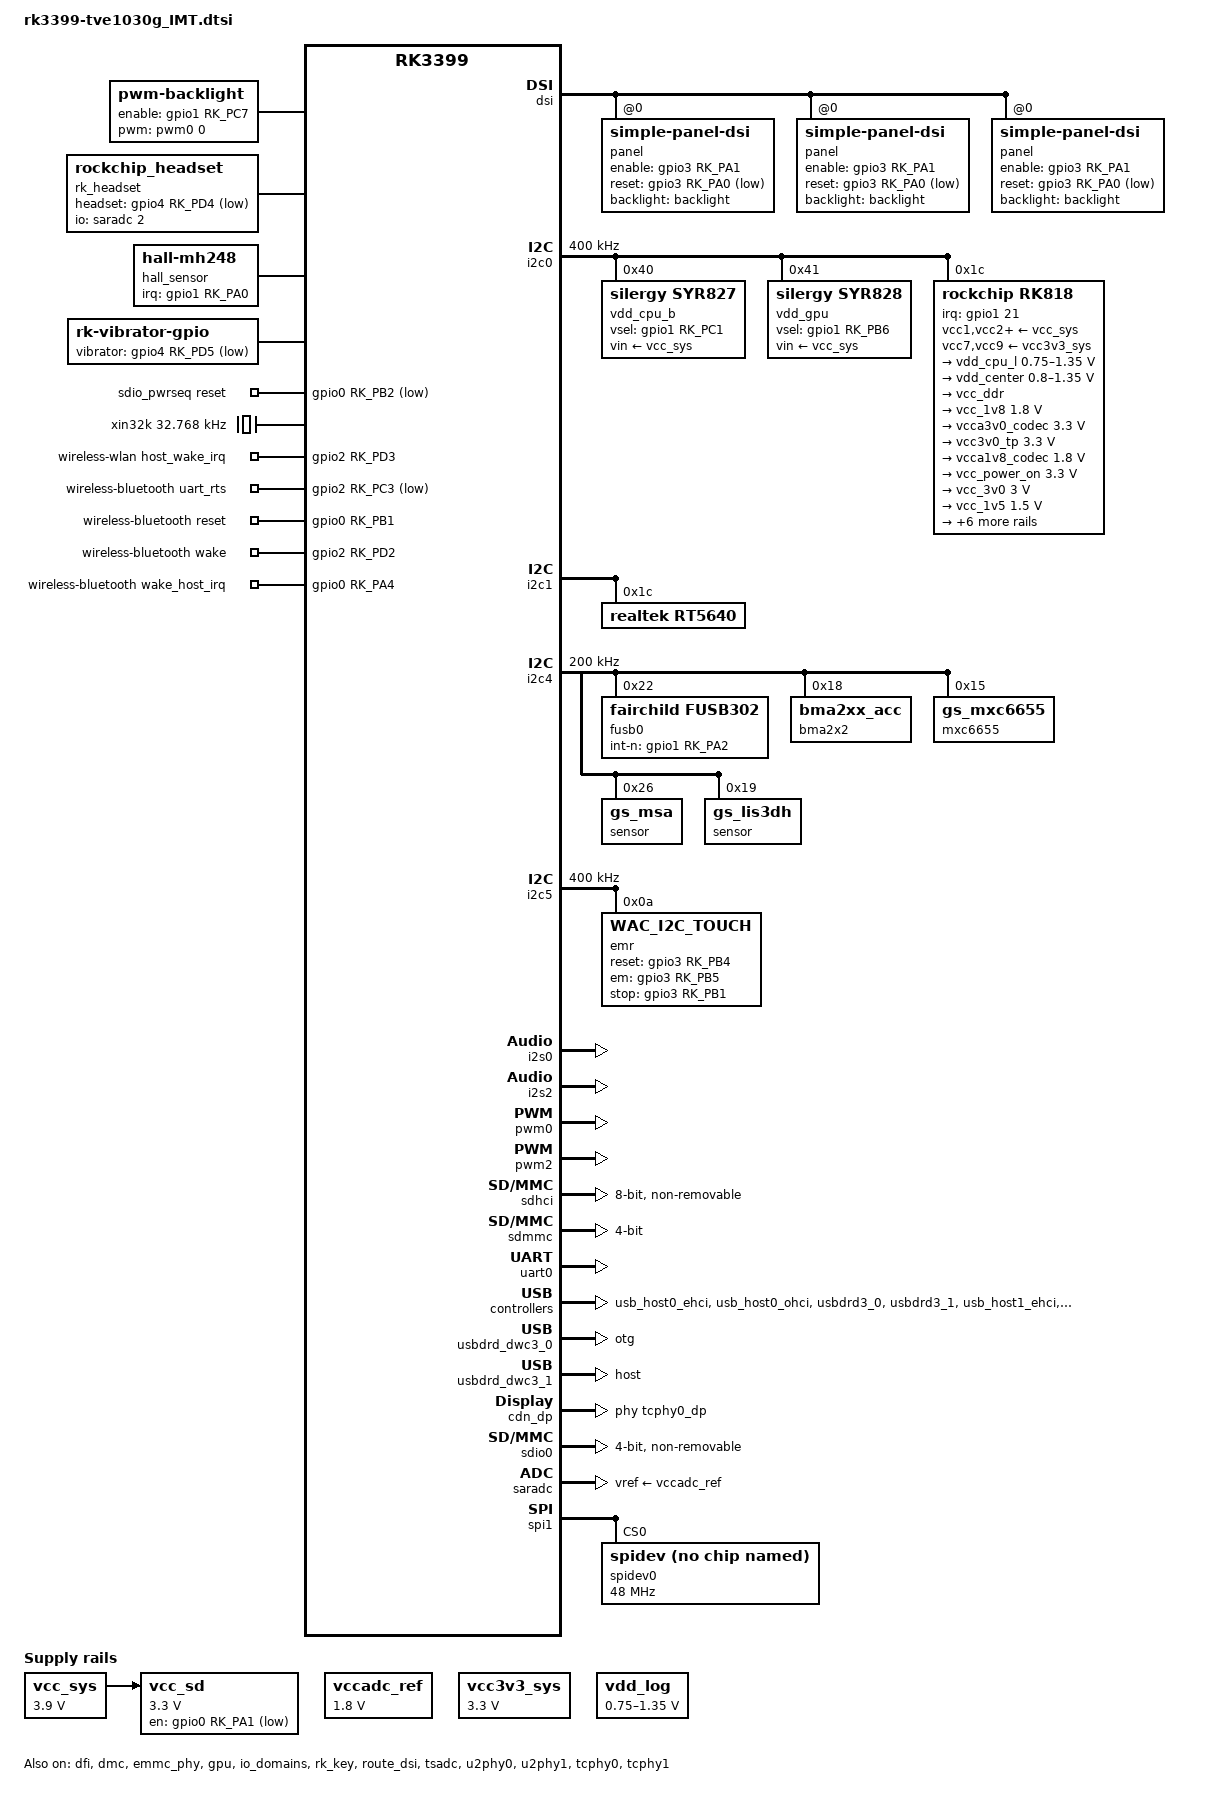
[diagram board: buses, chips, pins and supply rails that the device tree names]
/*
 * Copyright (c) 2018 Fuzhou Rockchip Electronics Co., Ltd
 *
 * SPDX-License-Identifier: (GPL-2.0+ OR MIT)
 */

/dts-v1/;
#include <dt-bindings/pwm/pwm.h>
#include <dt-bindings/sensor-dev.h>
#include "rk3399.dtsi"
#include "rk3399-android.dtsi"
#include "rk3399-opp.dtsi"
#include "rk3399-vop-clk-set.dtsi"

/ {
	backlight: backlight {
		compatible = "pwm-backlight";
		pwms = <&pwm0 0 25000 0>;
		pinctrl-names = "default";
   		 pinctrl-0 = <&bl_en>;
		enable-gpios = <&gpio1 RK_PC7 GPIO_ACTIVE_HIGH>;
		brightness-levels = <
			  0  20  20  21  21  22  22  23
			 23  24  24  25  25  26  26  27
			 27  28  28  29  29  30  30  31
			 31  32  32  33  33  34  34  35
			 35  36  36  37  37  38  38  39
			 40  41  42  43  44  45  46  47
			 48  49  50  51  52  53  54  55
			 56  57  58  59  60  61  62  63
			 64  65  66  67  68  69  70  71
			 72  73  74  75  76  77  78  79
			 80  81  82  83  84  85  86  87
			 88  89  90  91  92  93  94  95
			 96  97  98  99 100 101 102 103
			104 105 106 107 108 109 110 111
			112 113 114 115 116 117 118 119
			120 121 122 123 124 125 126 127
			128 129 130 131 132 133 134 135
			136 137 138 139 140 141 142 143
			144 145 146 147 148 149 150 151
			152 153 154 155 156 157 158 159
			160 161 162 163 164 165 166 167
			168 169 170 171 172 173 174 175
			176 177 178 179 180 181 182 183
			184 185 186 187 188 189 190 191
			192 193 194 195 196 197 198 199
			200 201 202 203 204 205 206 207
			208 209 210 211 212 213 214 215
			216 217 218 219 220 221 222 223
			224 225 226 227 228 229 230 231
			232 233 234 235 236 237 238 239
			240 241 242 243 244 245 246 247
			248 249 250 251 252 253 254 255
		>;
		default-brightness-level = <200>;
	};


	rt5640_sound: rt5640-sound {
		compatible = "simple-audio-card";
		status = "okay";
		simple-audio-card,format = "i2s";
		simple-audio-card,name = "rockchip,rt5640-codec";
		simple-audio-card,mclk-fs = <256>;
		simple-audio-card,widgets =
			"Microphone", "Mic Jack",
			"Headphone", "Headphone Jack";
		simple-audio-card,routing =
			"Mic Jack", "MICBIAS1",
			"IN1P", "Mic Jack",
			"Headphone Jack", "HPOL",
			"Headphone Jack", "HPOR";
		simple-audio-card,cpu {
			sound-dai = <&i2s0>;
		};
		simple-audio-card,codec {
			sound-dai = <&rt5640>;
		};
	};


	rk_headset {
		compatible = "rockchip_headset";
		headset_gpio = <&gpio4 RK_PD4 GPIO_ACTIVE_LOW>;
		pinctrl-names = "default";
		pinctrl-0 = <&hp_det>;
		io-channels = <&saradc 2>;
	};



	vcc_sd: sdmmc-regulator {
		compatible = "regulator-fixed";
		gpio = <&gpio0 RK_PA1 GPIO_ACTIVE_LOW>;
		pinctrl-names = "default";
		pinctrl-0 = <&sdmmc_pwr>;
		regulator-name = "vcc_sd";
		regulator-min-microvolt = <3300000>;
		regulator-max-microvolt = <3300000>;
		startup-delay-us = <100000>;
		vin-supply = <&vcc_sys>;
	};

	hall_sensor: hall-mh248 {
		compatible = "hall-mh248";
		pinctrl-names = "default";
		pinctrl-0 = <&mh248_irq_gpio>;
		irq-gpio = <&gpio1 RK_PA0 IRQ_TYPE_EDGE_BOTH>;
		hall-active = <1>;
		status = "okay";
	};

	vibrator {
		compatible = "rk-vibrator-gpio";
		vibrator-gpio = <&gpio4 RK_PD5 GPIO_ACTIVE_LOW>;
		status = "okay";
	};

	sdio_pwrseq: sdio-pwrseq {
		compatible = "mmc-pwrseq-simple";
		clocks = <&rk818 1>;
		clock-names = "ext_clock";
		pinctrl-names = "default";
		pinctrl-0 = <&wifi_enable_h>;
		/*
		 * On the module itself this is one of these (depending
		 * on the actual card populated):
		 * - SDIO_RESET_L_WL_REG_ON
		 * - PDN (power down when low)
		 */
		reset-gpios = <&gpio0 RK_PB2 GPIO_ACTIVE_LOW>;
	};

	uboot-charge {
		compatible = "rockchip,uboot-charge";
		rockchip,uboot-charge-on = <0>;
		rockchip,android-charge-on = <1>;
		rockchip,uboot-exit-charge-voltage = <3600>;
		rockchip,screen-on-voltage = <3400>;
		rockchip,uboot-low-power-voltage = <3500>;
		rockchip,auto-wakeup-interval = <300>;
	};

	vcc_sys: vcc-sys {
		compatible = "regulator-fixed";
		regulator-name = "vcc_sys";
		regulator-always-on;
		regulator-boot-on;
		regulator-min-microvolt = <3900000>;
		regulator-max-microvolt = <3900000>;
	};
	vccadc_ref: vccadc-ref {
		compatible = "regulator-fixed";
		regulator-name = "vcc1v8_sys";
		regulator-always-on;
		regulator-boot-on;
		regulator-min-microvolt = <1800000>;
		regulator-max-microvolt = <1800000>;
	};


	vcc3v3_sys: vcc3v3-sys {
		compatible = "regulator-fixed";
		regulator-name = "vcc3v3_sys";
		regulator-always-on;
		regulator-boot-on;
		regulator-min-microvolt = <3300000>;
		regulator-max-microvolt = <3300000>;
	};

	vdd_log: vdd-log {
		compatible = "pwm-regulator";
		pwms = <&pwm2 0 25000 1>;
		rockchip,pwm_id= <2>;
		rockchip,pwm_voltage = <900000>;
		regulator-name = "vdd_log";
		regulator-min-microvolt = <750000>;
		regulator-max-microvolt = <1350000>;
		regulator-always-on;
		regulator-boot-on;
	};

	xin32k: xin32k {
		compatible = "fixed-clock";
		clock-frequency = <32768>;
		clock-output-names = "xin32k";
		#clock-cells = <0>;
	};

	wireless-wlan {
		compatible = "wlan-platdata";
		rockchip,grf = <&grf>;
		wifi_chip_type = "ap6256";
		sdio_vref = <1800>;
		//WIFI,host_wake_irq = <&gpio4 RK_PD0 GPIO_ACTIVE_HIGH>;//QC2 and before
		WIFI,host_wake_irq = <&gpio2 RK_PD3 GPIO_ACTIVE_HIGH>;//for QCK
		pinctrl-names = "default";
		pinctrl-0 = <&host_wake_gpio>;
		status = "okay";
	};

	wireless-bluetooth {
		compatible = "bluetooth-platdata";
		clocks = <&rk818 1>;
		clock-names = "ext_clock";
		uart_rts_gpios = <&gpio2 RK_PC3 GPIO_ACTIVE_LOW>;
		pinctrl-names = "default", "rts_gpio";
		pinctrl-0 = <&uart0_rts>;
		pinctrl-1 = <&uart0_gpios>;
		BT,reset_gpio    = <&gpio0 RK_PB1 GPIO_ACTIVE_HIGH>; /* GPIO0_B1 */
		BT,wake_gpio     = <&gpio2 RK_PD2 GPIO_ACTIVE_HIGH>; /* GPIO2_D2 */
		BT,wake_host_irq = <&gpio0 RK_PA4 GPIO_ACTIVE_HIGH>; /* GPIO0_A4 */
		status = "okay";
	};
    /*   leds {
       compatible = "gpio-leds";
           charging {
           label = "charging";
           linux,default-trigger = "battery-charging";
           default-state = "on";
           gpios = <&gpio4 RK_PC6 GPIO_ACTIVE_HIGH>;
           pinctrl-names = "default";
           pinctrl-0 = <&led_power>;
       };

       user_led: user {
           label = "firefly:yellow:user";
           linux,default-trigger = "ir-user-click";
           default-state = "off";
           gpios = <&gpio0 RK_PB5 GPIO_ACTIVE_HIGH>;
           pinctrl-names = "default";
           pinctrl-0 = <&led_user>;
       };
   };*/
};


&cpu_l0 {
	cpu-supply = <&vdd_cpu_l>;
};

&cpu_l1 {
	cpu-supply = <&vdd_cpu_l>;
};

&cpu_l2 {
	cpu-supply = <&vdd_cpu_l>;
};

&cpu_l3 {
	cpu-supply = <&vdd_cpu_l>;
};

&cpu_b0 {
	cpu-supply = <&vdd_cpu_b>;
};

&cpu_b1 {
	cpu-supply = <&vdd_cpu_b>;
};

&dfi {
	status = "okay";
};

&dmc {
	status = "okay";
	center-supply = <&vdd_center>;
	system-status-freq = <
		/*system status         freq(KHz)*/
		SYS_STATUS_NORMAL       856000
		SYS_STATUS_REBOOT       416000
		SYS_STATUS_SUSPEND      416000
		SYS_STATUS_VIDEO_1080P  856000
		SYS_STATUS_VIDEO_4K     856000
		SYS_STATUS_VIDEO_4K_10B 856000
		SYS_STATUS_PERFORMANCE  856000
		SYS_STATUS_BOOST        856000
		SYS_STATUS_DUALVIEW     856000
		SYS_STATUS_ISP          856000
	>;
    vop-bw-dmc-freq = <
    /* min_bw(MB/s) max_bw(MB/s) freq(KHz) */
            0       577      416000
            578     99999    856000
    >;
	auto-min-freq = <416000>;
	auto-freq-en = <0>;
};

&dmc_opp_table {
	compatible = "operating-points-v2";

	opp-200000000 {
		opp-hz = /bits/ 64 <200000000>;
		opp-microvolt = <825000>;
		status = "disabled";
	};
	opp-300000000 {
		opp-hz = /bits/ 64 <300000000>;
		opp-microvolt = <850000>;
		status = "disabled";
	};
	opp-400000000 {
		opp-hz = /bits/ 64 <400000000>;
		opp-microvolt = <900000>;
        status = "disabled";
	};
    opp-416000000 {
		opp-hz = /bits/ 64 <416000000>;
		opp-microvolt = <900000>;
	};
	opp-528000000 {
		opp-hz = /bits/ 64 <528000000>;
		opp-microvolt = <900000>;
		status = "disabled";
	};
	opp-600000000 {
		opp-hz = /bits/ 64 <600000000>;
		opp-microvolt = <900000>;
		status = "disabled";
	};
	opp-800000000 {
		opp-hz = /bits/ 64 <800000000>;
		opp-microvolt = <900000>;
        status = "disabled";
	};
    opp-856000000 {
		opp-hz = /bits/ 64 <856000000>;
		opp-microvolt = <900000>;
	};
	opp-928000000 {
		opp-hz = /bits/ 64 <928000000>;
		opp-microvolt = <900000>;
		status = "disabled";
	};
	opp-1056000000 {
		opp-hz = /bits/ 64 <1056000000>;
		opp-microvolt = <900000>;
		status = "disabled";
	};
};

&dp_in_vopb {
	status = "disabled";
};

&dsi {
        status = "okay";
	rockchip,lane-rate = <1000>;


panel@0 {
	compatible ="simple-panel-dsi";
	reg = <0>;
	num = <0>;
	id = [82 79 0d];
	id-reg = <0xFC>;
	gpio_id = <0>;

	backlight = <&backlight>;
	enable-gpios = <&gpio3 RK_PA1 GPIO_ACTIVE_HIGH>;
	reset-gpios = <&gpio3 RK_PA0 GPIO_ACTIVE_LOW>;
	pinctrl-0 = <&lcd_pwr_gpio>;
	pinctrl-1 = <&lcd_rst_gpio>;

	dsi,flags = <(MIPI_DSI_MODE_VIDEO | MIPI_DSI_MODE_VIDEO_BURST |  MIPI_DSI_MODE_LPM)>;
	dsi,format = <MIPI_DSI_FMT_RGB888>;
//	bus-format = <MEDIA_BUS_FMT_RGB666_1X18>;
	dsi,lanes = <4>;
	dsi,channel = <0>;
	unprepare-delay-ms = <0>;
	disable-delay-ms = <10>;
	reset-delay-ms = <20>;
	init-delay-ms = <60>;
	enable-delay-ms = <50>;
	prepare-delay-ms = <50>;
	width-mm = <135>;
	height-mm = <218>;
	size,width = <135>;
	size,height = <216>;
	status = "okay";

panel-init-sequence = [                 
	15 05 02 B0 01
	15 05 02 C0 26  //VGPH
	15 05 02 C1 10 //VGNH
	15 05 02 C2 0E
	15 05 02 C3 00
	15 05 02 C4 00
	15 05 02 C5 23
	15 05 02 C6 11
	15 05 02 C7 22
	15 05 02 C8 20
	15 05 02 C9 1E
	15 05 02 CA 1C
	15 05 02 CB 0C
	15 05 02 CC 0A
	15 05 02 CD 08
	15 05 02 CE 06
	15 05 02 CF 18
	15 05 02 D0 02
	15 05 02 D1 00
	15 05 02 D2 00
	15 05 02 D3 00
	15 05 02 D4 26//
	15 05 02 D5 0F
	15 05 02 D6 0D
	15 05 02 D7 00
	15 05 02 D8 00
	15 05 02 D9 23
	15 05 02 DA 11
	15 05 02 DB 21
	15 05 02 DC 1F
	15 05 02 DD 1D
	15 05 02 DE 1B
	15 05 02 DF 0B
	15 05 02 E0 09
	15 05 02 E1 07
	15 05 02 E2 05
	15 05 02 E3 17
	15 05 02 E4 01
	15 05 02 E5 00
	15 05 02 E6 00
	15 05 02 E7 00//
	15 05 02 B0 03
	15 05 02 BE 04
	15 05 02 B9 40
	15 05 02 CC 88
	15 05 02 C8 0C
	15 05 02 C9 07
	15 05 02 CD 01
	15 05 02 CA 40
	15 05 02 CE 1A
	15 05 02 CF 60
	15 05 02 D2 08
	15 05 02 D3 08
	15 05 02 DB 01
	15 05 02 D9 06
	15 05 02 D4 00
	15 05 02 D5 01
	15 05 02 D6 04
	15 05 02 D7 03
	15 05 02 C2 00
	15 05 02 C3 0E
	15 05 02 C4 00
	15 05 02 C5 0E
	15 05 02 DD 00
	15 05 02 DE 0E
	15 05 02 E6 00
	15 05 02 E7 0E
	15 05 02 C2 00
	15 05 02 C3 0E
	15 05 02 C4 00
	15 05 02 C5 0E
	15 05 02 DD 00
	15 05 02 DE 0E
	15 05 02 E6 00
	15 05 02 E7 0E
	15 05 02 B0 06
	15 05 02 C0 A5
	15 05 02 D5 1C
	15 05 02 C0 00
	15 05 02 B0 00
	15 05 02 F9 5C
	15 05 02 C2 14
	15 05 02 C4 14
	15 05 02 BF 15
	15 05 02 BD 0f//vcom
	15 05 02 C0 0C
	05 05  01  11
	05 64  01 29
];
		panel-read-id-sequence = [		
		  15 00 02 B0 00
 		];
                panel-exit-sequence = [
                        05 05 01 28
                        05 78 01 10
                ];
                
           /*     power_ctr: power_ctr {
                rockchip,debug = <0>;
                power_enable = <1>;
	
                };*/

                 display-timings {
                                          native-mode = <&timing0>;
                                          timing0: timing0 {
                                                       clock-frequency = <150000000>; //166000000 @50
                                                       hactive = <1200>;
                                                       vactive = <1920>;
                                                       hsync-len = <24>;   //20, 50
                                                       hback-porch = <80>; //50, 56
                                                       hfront-porch = <60>;//50, 30 //1580
                                                       vsync-len = <2>;
                                                       vback-porch = <10>;
                                                       vfront-porch = <14>;
                                                       hsync-active = <0>;
                                                       vsync-active = <0>;
                                                       de-active = <0>;
							screen-width=<135>;
							screen-hight=<216>;
                                                       pixelclk-active = <0>;
                                                   };
                                      };
        };

        panel@1 {
	compatible ="simple-panel-dsi";
	gpio_id = <0>;
	reg = <0>;
	num = <1>;
	id = [79 20 08];
	id-reg = <0xFC>;
	backlight = <&backlight>;
	enable-gpios = <&gpio3 RK_PA1 GPIO_ACTIVE_HIGH>;
	reset-gpios = <&gpio3 RK_PA0 GPIO_ACTIVE_LOW>;
	pinctrl-0 = <&lcd_pwr_gpio>;
	pinctrl-1 = <&lcd_rst_gpio>;

	dsi,flags = <(MIPI_DSI_MODE_VIDEO | MIPI_DSI_MODE_VIDEO_BURST |  MIPI_DSI_MODE_LPM)>;
	dsi,format = <MIPI_DSI_FMT_RGB888>;

	dsi,lanes = <4>;
	dsi,channel = <0>;
	unprepare-delay-ms = <0>;
	disable-delay-ms = <10>;
	reset-delay-ms = <20>;
	init-delay-ms = <60>;
	enable-delay-ms = <50>;
	prepare-delay-ms = <50>;
	width-mm = <135>;
	height-mm = <218>;
	size,width = <135>;
	size,height = <216>;
	status = "okay";


panel-init-sequence = [                 
	15 00  02  B0 0F       
	15 00  02  CD AA       
	15 00  02  30 00    
	15 00  02  32 00               
	15 00  02  3A 8F        
	15 00  02  3D 15        
	15 00  02  3F 1F       
	15 00  02  40 0F        
	15 00  02  30 01       
	15 00  02  00 01       
	15 00  02  31 66       
	15 00  02  32 10       
	15 00  02  33 74        
	15 00  02  35 00       
	15 00  02  36 01        
	39 00  0D  3A 00 00 10 10 00 00 10 10 00 00 10 10       
	39 00  0C  3B 22 19 1D 23 23 21 20 17 15 13 11       
	39 00  0B  3C 0F 0D 0B 09 05 01 23 23 23 00      
	39 00  0C  3D 22 18 1C 23 23 21 20 16 14 12 10       
	39 00  0B  3E 0E 0C 0A 08 04 00 23 23 23 00       
	15 00  02  3F 01       
	15 00  02  40 B8       
	15 00  02  41 01       
	15 00  02  46 87       
	15 00  02  30 02       
	39 00  0B  3A 3E 30 2C 2A 33 32 31 33 38 3B       
	39 00  08  3B 39 37 35 29 1A 0D 00        
	39 00  0B  3C 3E 30 2C 2A 33 32 31 33 38 3B       
	39 00  08  3D 39 37 35 29 1A 0D 00 
	39 00  0B  3E 00 00 00 00 00 00 00 00 00 00    
	15 00  02  30 07       
	15 00  02  35 B8     
	15 00  02  30 08        
	15 00  02  5C 20       
	15 00  02  5D 04        
	15 00  02  30 0A        
	15 00  02  39 05       
	15 00  02  3A 1D       
	15 00  02  4C 04       
	15 00  02  30 08       
	15 00  02  33 12        
	15 00  02  30 01        
	15 00  02  37 66        
	15 00  02  30 05        
	15 00  02  31 19   
	15 00  02  30 08        
	15 00  02  44 38    
	15 00  02  30 0F       
	05 05  01  11
	05 64  01 29
];

                panel-exit-sequence = [
                        05 05 01 28
                        05 78 01 10
                ];
        /*        
                power_ctr: power_ctr {
                rockchip,debug = <0>;
                power_enable = <1>;
	
                };*/

                display-timings {
                                          native-mode = <&timing1>;
                                          timing1: timing1 {
                                                       clock-frequency = <155000000>; //166000000 @50
                                                       hactive = <1200>;
                                                       vactive = <1920>;
                                                       hsync-len = <24>;   //20, 50
                                                       hback-porch = <80>; //50, 56
                                                       hfront-porch = <60>;//50, 30 //1580
                                                       vsync-len = <2>;
                                                       vback-porch = <10>;
                                                       vfront-porch = <14>;
                                                       hsync-active = <0>;
                                                       vsync-active = <0>;
                                                       de-active = <0>;
							screen-width=<135>;
							screen-hight=<216>;
                                                       pixelclk-active = <0>;
                                                   };
                                      };
        };




        panel@2 {
	compatible ="simple-panel-dsi";
	gpio_id = <0>;
	reg = <0>;
	num = <2>;
//	id = [0 0 0];
	id-reg = <0xFC>;
	backlight = <&backlight>;
	enable-gpios = <&gpio3 RK_PA1 GPIO_ACTIVE_HIGH>;
	reset-gpios = <&gpio3 RK_PA0 GPIO_ACTIVE_LOW>;
	pinctrl-0 = <&lcd_pwr_gpio>;
	pinctrl-1 = <&lcd_rst_gpio>;

	dsi,flags = <(MIPI_DSI_MODE_VIDEO | MIPI_DSI_MODE_VIDEO_BURST |  MIPI_DSI_MODE_LPM)>;
	dsi,format = <MIPI_DSI_FMT_RGB888>;

	dsi,lanes = <4>;
	dsi,channel = <0>;
	unprepare-delay-ms = <0>;
	disable-delay-ms = <10>;
	reset-delay-ms = <20>;
	init-delay-ms = <60>;
	enable-delay-ms = <50>;
	prepare-delay-ms = <50>;
	width-mm = <135>;
	height-mm = <218>;
	size,width = <135>;
	size,height = <216>;
	status = "okay";


panel-init-sequence = [                 
	15 00  02  B0 0F       
	15 00  02  CD AA       
	15 00  02  30 00    
	15 00  02  32 00               
	15 00  02  3A 8F        
	15 00  02  3D 15        
	15 00  02  3F 1F       
	15 00  02  40 0F        
	15 00  02  30 01       
	15 00  02  00 01       
	15 00  02  31 66       
	15 00  02  32 10       
	15 00  02  33 74        
	15 00  02  35 00       
	15 00  02  36 01        
	39 00  0D  3A 00 00 10 10 00 00 10 10 00 00 10 10       
	39 00  0C  3B 22 19 1D 23 23 21 20 17 15 13 11       
	39 00  0B  3C 0F 0D 0B 09 05 01 23 23 23 00      
	39 00  0C  3D 22 18 1C 23 23 21 20 16 14 12 10       
	39 00  0B  3E 0E 0C 0A 08 04 00 23 23 23 00       
	15 00  02  3F 01       
	15 00  02  40 B8       
	15 00  02  41 01       
	15 00  02  46 87       
	15 00  02  30 02       
	39 00  0B  3A 3E 30 2C 2A 33 32 31 33 38 3B       
	39 00  08  3B 39 37 35 29 1A 0D 00        
	39 00  0B  3C 3E 30 2C 2A 33 32 31 33 38 3B       
	39 00  08  3D 39 37 35 29 1A 0D 00 
	39 00  0B  3E 00 00 00 00 00 00 00 00 00 00    
	15 00  02  30 07       
	15 00  02  35 B8     
	15 00  02  30 08        
	15 00  02  5C 20       
	15 00  02  5D 04        
	15 00  02  30 0A        
	15 00  02  39 05       
	15 00  02  3A 1D       
	15 00  02  4C 04       
	15 00  02  30 08       
	15 00  02  33 12        
	15 00  02  30 01        
	15 00  02  37 66        
	15 00  02  30 05        
	15 00  02  31 19   
	15 00  02  30 08        
	15 00  02  44 38    
	15 00  02  30 0F       
	05 05  01  11
	05 64  01 29
];

                panel-exit-sequence = [
                        05 05 01 28
                        05 78 01 10
                ];
        /*        
                power_ctr: power_ctr {
                rockchip,debug = <0>;
                power_enable = <1>;
	
                };*/

                display-timings {
                                          native-mode = <&timing1>;
                                          timing2: timing2 {
                                                       clock-frequency = <155000000>; //166000000 @50
                                                       hactive = <1200>;
                                                       vactive = <1920>;
                                                       hsync-len = <24>;   //20, 50
                                                       hback-porch = <80>; //50, 56
                                                       hfront-porch = <60>;//50, 30 //1580
                                                       vsync-len = <2>;
                                                       vback-porch = <10>;
                                                       vfront-porch = <14>;
                                                       hsync-active = <0>;
                                                       vsync-active = <0>;
                                                       de-active = <0>;
							screen-width=<135>;
							screen-hight=<216>;
                                                       pixelclk-active = <0>;
                                                   };
                                      };
        };


};


&dsi_in_vopl {
	status = "disabled";
};

&emmc_phy {
	status = "okay";
};

&gpu {
	status = "okay";
	mali-supply = <&vdd_gpu>;
};

&hdmi {
	status = "disabled";
};

&hdmi_dp_sound {
	status = "disabled";
};

&hdmi_in_vopb {
	status = "disabled";
};

&i2c0 {
	status = "okay";
	i2c-scl-rising-time-ns = <180>;
	i2c-scl-falling-time-ns = <30>;
	clock-frequency = <400000>;

	vdd_cpu_b: syr837@40 {
		compatible = "silergy,syr827";
		reg = <0x40>;
		vin-supply = <&vcc_sys>;
		regulator-compatible = "fan53555-reg";
		pinctrl-0 = <&vsel1_gpio>;
		vsel-gpios = <&gpio1 RK_PC1 GPIO_ACTIVE_HIGH>;
		regulator-name = "vdd_cpu_b";
		regulator-min-microvolt = <712500>;
		regulator-max-microvolt = <1500000>;
		regulator-ramp-delay = <1000>;
		fcs,suspend-voltage-selector = <1>;
		regulator-always-on;
		regulator-boot-on;
		regulator-initial-state = <3>;
		regulator-state-mem {
			regulator-off-in-suspend;
		};
	};

	vdd_gpu: syr828@41 {
		compatible = "silergy,syr828";
		status = "okay";
		reg = <0x41>;
		vin-supply = <&vcc_sys>;
		regulator-compatible = "fan53555-reg";
		pinctrl-0 = <&vsel2_gpio>;
		vsel-gpios = <&gpio1 RK_PB6 GPIO_ACTIVE_HIGH>;
		regulator-name = "vdd_gpu";
		regulator-min-microvolt = <712500>;
		regulator-max-microvolt = <1500000>;
		regulator-ramp-delay = <1000>;
		fcs,suspend-voltage-selector = <1>;
		regulator-always-on;
		regulator-boot-on;
		regulator-initial-state = <3>;
			regulator-state-mem {
			regulator-off-in-suspend;
		};
	};

	
rk818: pmic@1c {
		compatible = "rockchip,rk818";
		status = "okay";
		reg = <0x1c>;
		clock-output-names = "rk818-clkout1", "wifibt_32kin";
		interrupt-parent = <&gpio1>;
		interrupts = <21 IRQ_TYPE_LEVEL_LOW>;
		pinctrl-names = "default";
		pinctrl-0 = <&pmic_int_l>;
		rockchip,system-power-controller;
		rk818,support_dc_chg = <0>;/*1: dc chg; 0:usb chg*/
		wakeup-source;
		extcon = <&fusb0>;
		#clock-cells = <1>;

		vcc1-supply = <&vcc_sys>;
		vcc2-supply = <&vcc_sys>;
		vcc3-supply = <&vcc_sys>;
		vcc4-supply = <&vcc_sys>;
		vcc6-supply = <&vcc_sys>;
		vcc7-supply = <&vcc3v3_sys>;
		vcc8-supply = <&vcc_sys>;
		vcc9-supply = <&vcc3v3_sys>;

		regulators {
			vdd_cpu_l: DCDC_REG1 {
				regulator-name = "vdd_cpu_l";
				regulator-always-on;
				regulator-boot-on;
				regulator-min-microvolt = <750000>;
				regulator-max-microvolt = <1350000>;
				regulator-ramp-delay = <6001>;
				regulator-state-mem {
					regulator-off-in-suspend;
				};
			};

			vdd_center: DCDC_REG2 {
				regulator-name = "vdd_center";
				regulator-always-on;
				regulator-boot-on;
				regulator-min-microvolt = <800000>;
				regulator-max-microvolt = <1350000>;
				regulator-ramp-delay = <6001>;
				regulator-state-mem {
					regulator-off-in-suspend;
				};
			};

			vcc_ddr: DCDC_REG3 {
				regulator-name = "vcc_ddr";
				regulator-always-on;
				regulator-boot-on;
				regulator-state-mem {
					regulator-on-in-suspend;
				};
			};

			vcc_1v8: DCDC_REG4 {
				regulator-name = "vcc_1v8";
				regulator-always-on;
				regulator-boot-on;
				regulator-min-microvolt = <1800000>;
				regulator-max-microvolt = <1800000>;
				regulator-state-mem {
					regulator-on-in-suspend;
					regulator-suspend-microvolt = <1800000>;
				};
			};

			vcca3v0_codec: LDO_REG1 {
				regulator-always-on;
				regulator-boot-on;
				regulator-min-microvolt = <3300000>;
				regulator-max-microvolt = <3300000>;
				regulator-name = "vcca3v0_codec";
				regulator-state-mem {
					regulator-on-in-suspend;
					regulator-suspend-microvolt = <3300000>;
				};
			};

			vcc3v0_tp: LDO_REG2 {
				regulator-always-on;
				regulator-boot-on;
				regulator-min-microvolt = <3300000>;
				regulator-max-microvolt = <3300000>;
				regulator-name = "vcc3v0_tp";
				regulator-state-mem {
					regulator-off-in-suspend;
				};
			};

			vcca1v8_codec: LDO_REG3 {
				regulator-always-on;
				regulator-boot-on;
				regulator-min-microvolt = <1800000>;
				regulator-max-microvolt = <1800000>;
				regulator-name = "vcca1v8_codec";
				regulator-state-mem {
					regulator-on-in-suspend;
					regulator-suspend-microvolt = <1800000>;
				};
			};

			vcc_power_on: LDO_REG4 {
				regulator-always-on;
				regulator-boot-on;
				regulator-min-microvolt = <3300000>;
				regulator-max-microvolt = <3300000>;
				regulator-name = "vcc_power_on";
				regulator-state-mem {
					regulator-on-in-suspend;
					regulator-suspend-microvolt = <3300000>;
				};
			};

			vcc_3v0: LDO_REG5 {
				regulator-always-on;
				regulator-boot-on;
				regulator-min-microvolt = <3000000>;
				regulator-max-microvolt = <3000000>;
				regulator-name = "vcc_3v0";
				regulator-state-mem {
					regulator-on-in-suspend;
					regulator-suspend-microvolt = <3000000>;
				};
			};

			vcc_1v5: LDO_REG6 {
				regulator-always-on;
				regulator-boot-on;
				regulator-min-microvolt = <1500000>;
				regulator-max-microvolt = <1500000>;
				regulator-name = "vcc_1v5";
				regulator-state-mem {
					regulator-on-in-suspend;
					regulator-suspend-microvolt = <1500000>;
				};
			};

			vcc1v8_dvp: LDO_REG7 {
			//	regulator-always-on;
				regulator-boot-on;
				regulator-min-microvolt = <1800000>;
				regulator-max-microvolt = <1800000>;
				regulator-name = "vcc1v8_dvp";
				regulator-state-mem {
					regulator-off-in-suspend;
				};
			};

			vcc3v3_s3: LDO_REG8 {
				regulator-always-on;
				regulator-boot-on;
				regulator-min-microvolt = <3300000>;
				regulator-max-microvolt = <3300000>;
				regulator-name = "vcc3v3_s3";
				regulator-state-mem {
					regulator-off-in-suspend;
				};
			};

			vccio_sd: LDO_REG9 {
				regulator-always-on;
				regulator-boot-on;
				regulator-min-microvolt = <1800000>;
				regulator-max-microvolt = <3000000>;
				regulator-name = "vccio_sd";
				regulator-state-mem {
					regulator-on-in-suspend;
					regulator-suspend-microvolt = <3000000>;
				};
			};

			vcc3v3_s0: SWITCH_REG {
				regulator-always-on;
				regulator-boot-on;
				regulator-name = "vcc3v3_s0";
				regulator-state-mem {
					regulator-on-in-suspend;
				};
			};

			boost_otg: DCDC_BOOST {
				regulator-name = "boost_otg";
				regulator-always-on;
				regulator-boot-on;
				regulator-min-microvolt = <5000000>;
				regulator-max-microvolt = <5000000>;
				regulator-state-mem {
					regulator-on-in-suspend;
					regulator-suspend-microvolt = <5000000>;
				};
			};

			otg_switch: OTG_SWITCH {
				regulator-name = "otg_switch";
			};
		};

		battery {
			compatible = "rk818-battery";
			ocv_table = <3400 3666 3680 3708 3732 3749 3763 3775 3788 3806 3827 3859 3909 3946 3972 4036 4077 4129 4181 4238 4308>;
			ntc_table =
		       <
			42506  
			40599  
			38790  
			37072  
			35441  
			33892  
			32419  
			31020  
			29689  
			28423  
			27218  
			26076  
			24987  
			23950  
			22962  
			22021  
			21123  
			20266  
			19449  
			18669  
			17925  
			17213  
			16534  
			15885  
			15265  
			14673  
			14107  
			13566  
			13048  
			12554  
			12080  
			11628  
			11194  
			10779  
			10381  
			10000  
			 9634  
			 9283  
			 8947  
			 8624  
			 8314  
			 8018  
			 7733  
			 7460  
			 7199  
			 6947  
			 6706  
			 6475  
			 6252  
			 6039  
			 5833  
			 5635  
			 5445  
			 5262  
			 5086  
			 4916  
			 4753  
			 4597  
			 4446  
			 4300  
			 4160  
			 4026  
			 3896  
			 3771  
			 3651  
			 3535  
			 3423  
			 3315  
			 3211  
			 3111  
			 3014  
			 2922  
			 2833  
			 2748  
			 2665  
			 2586  
			 2509  
			 2435  
			 2363  
			 2294  
			 2227  
			 2162  
			 2100  
			 2039  
			 1981  
			 1924  
			 1869  
			 1817  
			 1765  
			 1716  
			 1668  
			 1622  
			 1577  
			 1534  
			 1492   
			>;
			ntc_degree_from = <1 10>;
			temperature_chrg_table = <0 9 80 1>, <0 41 850 2>,<0 44 80 40>;
			design_capacity = <6200>;
			design_qmax = <6800>;
			bat_res = <93>;
			max_input_current = <1750>;
			max_chrg_current = <1600>;
			max_chrg_voltage = <4350>;
			sleep_enter_current = <300>;
			sleep_exit_current = <300>;
			power_off_thresd = <3400>;
			zero_algorithm_vol = <3950>;
			fb_temperature = <115>;
			sample_res = <10>;
			max_soc_offset = <60>;
			energy_mode = <0>;
			monitor_sec = <5>;
			virtual_power = <0>;
			power_dc2otg = <1>;
			support_usb_adp = <1>;
			charger_led_gpio = <&gpio4 RK_PC6 GPIO_ACTIVE_HIGH>;
			VCC5V0_TYPEC0_gpios = <&gpio0 RK_PA6 GPIO_ACTIVE_HIGH>;
			wacom_stop_gpio = <&gpio3 RK_PB1 GPIO_ACTIVE_HIGH>;
			wacom_RST_gpio = <&gpio3 RK_PB4 GPIO_ACTIVE_HIGH>;
			ID1_det_gpio = <&gpio3 RK_PA6 GPIO_ACTIVE_LOW>;
			ID2_det_gpio = <&gpio3 RK_PA7 GPIO_ACTIVE_LOW>;
			RK818_reset_gpios = <&gpio1 RK_PA6 GPIO_ACTIVE_HIGH>;
		};
	};
};



&i2c1 {
	status = "okay";
	i2c-scl-rising-time-ns = <140>;
	i2c-scl-falling-time-ns = <30>;



	rt5640: rt5640@1c  {
		status = "okay";
		#sound-dai-cells = <0>;
		compatible = "realtek,rt5640";
		reg = <0x1c>;
		clocks = <&cru SCLK_I2S_8CH_OUT>;
		clock-names = "mclk";
		realtek,in1-differential;
		pinctrl-names = "default";
		pinctrl-0 = <&i2s_8ch_mclk>;
	};

};

&i2c4 {
	status = "okay";
	i2c-scl-rising-time-ns = <345>;
	i2c-scl-falling-time-ns = <11>;
	clock-frequency = <200000>;

	bq25700: bq25700@6b {
		compatible = "ti,bq25703";
		reg = <0x6b>;
		extcon = <&fusb0>;
		interrupt-parent = <&gpio1>;
		interrupts = <RK_PC7 IRQ_TYPE_LEVEL_LOW>;
		pinctrl-names = "default";
	//	pinctrl-0 = <&charger_ok>;
		ti,charge-current = <1500000>;
		ti,max-charge-voltage = <8704000>;
		ti,max-input-voltage = <20000000>;
		ti,max-input-current = <6000000>;
		ti,input-current-sdp = <500000>;
		ti,input-current-dcp = <2000000>;
		ti,input-current-cdp = <2000000>;
		ti,input-current-dc = <2000000>;
		ti,minimum-sys-voltage = <6700000>;
		ti,otg-voltage = <5000000>;
		ti,otg-current = <500000>;
		ti,input-current = <500000>;
		pd-charge-only = <0>;
		//typec0-enable-gpios = <&gpio1 RK_PA3 GPIO_ACTIVE_LOW>;
		status = "disabled";
	};

	cw2015: cw2015@62 {
		status = "disabled";
		compatible = "cw201x";
		reg = <0x62>;
		bat_config_info = <0x15 0xA8 0x5D 0x5D 0x59 0x55 0x57 0x50
				   0x4B 0x4F 0x55 0x53 0x43 0x37 0x2F 0x28
				   0x21 0x18 0x15 0x17 0x27 0x43 0x57 0x4F
				   0x13 0x5E 0x0A 0xE1 0x19 0x31 0x3C 0x46
				   0x4C 0x52 0x50 0x54 0x44 0x1E 0x7E 0x4C
				   0x1C 0x4A 0x52 0x87 0x8F 0x91 0x94 0x52
				   0x82 0x8C 0x92 0x96 0x00 0xAD 0xFB 0xCB
				   0x2F 0x7D 0x72 0xA5 0xB5 0xC1 0x1C 0x09>;
		monitor_sec = <2>;
		virtual_power = <0>;
		divider_res1 = <200>;
		divider_res2 = <200>;
	};

	fusb0: fusb30x@22 {
		compatible = "fairchild,fusb302";
		reg = <0x22>;
		pinctrl-names = "default";
		pinctrl-0 = <&fusb0_int>;
		int-n-gpios = <&gpio1 RK_PA2 GPIO_ACTIVE_HIGH>;
	//	vbus-5v-gpios = <&gpio0 RK_PA6 GPIO_ACTIVE_HIGH>;
		status = "okay";
	};
	bma2x2: bma255@18 {
		compatible = "bma2xx_acc";
		status = "okay";
		reg = <0x18>;
		type = <SENSOR_TYPE_ACCEL>;
		irq_enable = <0>;
		poll_delay_ms = <20>;
		layout = <8>;
		reprobe_en = <1>;/* this sensor need to be probe again */
	};
	mxc6655: mxc6655@15 {
		compatible = "gs_mxc6655";
		status = "okay";
		reg = <0x15>;
		type = <SENSOR_TYPE_ACCEL>;
		irq_enable = <0>;
		poll_delay_ms = <20>;
		layout = <8>;
		reprobe_en = <1>;/* this sensor need to be probe again */
	};
	sensor@26{
		compatible = "gs_msa"; 
		reg = <0x26>; 
		type = <SENSOR_TYPE_ACCEL>; 
		//irq-gpio = <&gpio2 GPIO_B2 IRQ_TYPE_EDGE_FALLING>; 
		irq_enable = <0>; 
		poll_delay_ms = <20>; 
		//layout = <6>; 
		layout = <8>; 
	};

	sensor@19 {
		status = "okay";
		compatible = "gs_lis3dh";
		reg = <0x19>;
		type = <SENSOR_TYPE_ACCEL>;
		irq_enable = <0>;
		poll_delay_ms = <20>;
		reprobe_en = <0>;
		layout = <6>;    
	};

	gt9xx: gt9xx@5D {
		compatible = "goodix,GT9XX-TS";
		reg = <0x5D>;
	//	irq_gpio_number = <&gpio4 RK_PD4 IRQ_TYPE_LEVEL_LOW>;
		rst_gpio_number = <&gpio4 RK_PC5 GPIO_ACTIVE_HIGH>;
		screen_max_x = <4096>;
		screen_max_y = <4096>;
		tp-size = <89>;
		//1280x800
		x_reverse = <1>;
		y_reverse = <0>;
		xy_reverse = <0>;
		configfile-num = <1>;
		status = "disabled";
	};
};

&i2c5 {
	status = "okay";
/*	i2c-scl-rising-time-ns = <345>;
	i2c-scl-falling-time-ns = <11>;
	clock-frequency = <200000>;

	i2c-scl-rising-time-ns = <150>;
	i2c-scl-falling-time-ns = <30>;
	clock-frequency = <100000>;*/

	clock-frequency = <400000>;
	emr@A {
		compatible = "WAC_I2C_TOUCH";
		reg = <0xA>;
		screen_max_x = <4096>;
		screen_max_y = <4096>;
		reset-gpio = <&gpio3 RK_PB4 GPIO_ACTIVE_HIGH>;
		em-gpio = <&gpio3 RK_PB5 IRQ_TYPE_LEVEL_LOW>;
		stop-gpio = <&gpio3 RK_PB1 GPIO_ACTIVE_HIGH>;
		pinctrl-names = "default";
		pinctrl-0 = <&wacom_irq>;
	};
};

&i2s0 {
	status = "okay";
	rockchip,i2s-broken-burst-len;
	rockchip,playback-channels = <8>;
	rockchip,capture-channels = <8>;
	#sound-dai-cells = <0>;
};

&i2s2 {
	#sound-dai-cells = <0>;
	status = "okay";
};


&io_domains {
	status = "okay";
	bt656-supply = <&vcc1v8_dvp>;
	audio-supply = <&vcca1v8_codec>;
	sdmmc-supply = <&vccio_sd>;
	gpio1830-supply = <&vcc_3v0>;
};

&pmu_io_domains {
	status = "okay";
	pmu1830-supply = <&vcc_1v8>;
};


&isp0_mmu {
	status = "okay";
};

&isp1_mmu {
	status = "okay";
};

&pinctrl {
    pinctrl-names = "default";
 /*   pinctrl-0 = <&host_hub_vcc>;

    host-hub-vcc {
        host_hub_vcc: host-hub-vcc {
        rockchip,pins = <1 RK_PC7 RK_FUNC_GPIO &pcfg_output_high>,
                        <2 RK_PA4 RK_FUNC_GPIO &pcfg_output_high>,
                        <1 RK_PA2 RK_FUNC_GPIO &pcfg_output_high>,
                        <4 RK_PD5 RK_FUNC_GPIO &pcfg_output_high>;
        };
    };*/

	Wacom_TP {
		wacom_irq: wacom_irq {
			rockchip,pins = <3 RK_PB5 RK_FUNC_GPIO &pcfg_pull_up>;
		};

	};
	hallsensor {
		mh248_irq_gpio: mh248-irq-gpio {
			rockchip,pins = <1 RK_PA0 RK_FUNC_GPIO &pcfg_pull_up>;
		};
	};

	sdmmc_pwr: sdmmc-pwr {
		rockchip,pins = <0 RK_PA1 RK_FUNC_GPIO &pcfg_pull_none>;
	};
/*
	    leds {                                                                                                            
		 led_power: led-power {                                                                    
		     rockchip,pins = <4 RK_PC6 RK_FUNC_GPIO &pcfg_pull_none>;
		 };

		 led_user: led-user {
		     rockchip,pins = <0 RK_PB5 RK_FUNC_GPIO &pcfg_pull_none>;
		 };
	    };
*/
	headphone {
		hp_det: hp-det {
			rockchip,pins = <4 RK_PD4 RK_FUNC_GPIO &pcfg_pull_up>;
		};
	};

	   bl {                                                                                                            
		 bl_en: bl-en {                                                                    
		     rockchip,pins = <1 RK_PC7 RK_FUNC_GPIO &pcfg_pull_none>;
		 };
	 };
	pcie {
		pcie_drv: pcie-drv {
			rockchip,pins =	<1 17 RK_FUNC_GPIO &pcfg_pull_none>;
		};
		pcie_3g_drv: pcie-3g-drv {
			rockchip,pins = <0 2 RK_FUNC_GPIO &pcfg_pull_up>;
		};
	};


	fusb30x {
		fusb0_int: fusb0-int {
			rockchip,pins =
				<1 RK_PA2 RK_FUNC_GPIO &pcfg_pull_up>;
			};
	};



	lcd_gpio {
		lcd_rst_gpio: lcd-rst-gpio {
			rockchip,pins = <3 RK_PA0 RK_FUNC_GPIO &pcfg_pull_none>;
		};
		lcd_pwr_gpio: lcd-pwr-gpio {
			rockchip,pins = <3 RK_PA1 RK_FUNC_GPIO &pcfg_pull_none>;
		};
	};

	pmic {
		pmic_int_l: pmic-int-l {
			rockchip,pins =
				<1 RK_PC5 RK_FUNC_GPIO &pcfg_pull_up>;
		};

		pmic_dvs2: pmic-dvs2 {
			rockchip,pins =
				<1 RK_PC2 RK_FUNC_GPIO &pcfg_pull_down>;
		};

		pmic_stby: pmic-stby {
			rockchip,pins =
				<1 RK_PD0 RK_FUNC_GPIO &pcfg_pull_up>;
		};

		pmic_hold: pmic-hold{
			rockchip,pins =
				<1 RK_PB5 RK_FUNC_GPIO &pcfg_pull_up>;
		};

		vsel1_gpio: vsel1-gpio {
			rockchip,pins =
				<1 RK_PC1 RK_FUNC_GPIO &pcfg_pull_down>;
		};
		vsel2_gpio: vsel2-gpio {
			rockchip,pins =
				<1 RK_PB6 RK_FUNC_GPIO &pcfg_pull_down>;
		};
	};

	sdio-pwrseq {
		wifi_enable_h: wifi-enable-h {
			rockchip,pins = <0 RK_PB2 RK_FUNC_GPIO &pcfg_pull_none>;
		};
	};

	tp_irq {
		tp_irq_gpio: tp-irq-gpio {
			rockchip,pins = <3 RK_PB0 RK_FUNC_GPIO &pcfg_pull_up>;
		};
	};

	wireless-bluetooth {
		uart0_gpios: uart0-gpios {
			rockchip,pins = <2 RK_PC3 RK_FUNC_GPIO &pcfg_pull_none>;
		};
	};
	wireless-wifi {
		host_wake_gpio: host_wake-gpio {
			rockchip,pins = <2 RK_PD3  RK_FUNC_GPIO &pcfg_pull_up>;
		};
		
		host_wake_gpio2: host_wake-gpio2 {
			rockchip,pins = <4 RK_PD0 RK_FUNC_GPIO &pcfg_pull_none>;
		};
	};

};

&pwm0 {
	status = "okay";
};

&pwm2 {
	status = "okay";
};

&rk_key {
	status = "okay";
	compatible = "rockchip,key";
	io-channels = <&saradc 1>;

	vol-up-key {
		linux,code = <115>;
		label = "volume up";
		rockchip,adc_value = <170>;
	};

	vol-down-key {
		linux,code = <114>;
		label = "volume down";
		rockchip,adc_value = <1>;
	};

	power-key {
		gpios = <&gpio0 RK_PA5 GPIO_ACTIVE_LOW>;
		linux,code = <116>;
		label = "power";
		gpio-key,wakeup;
	};
};

&rockchip_suspend {
	status = "okay";
	rockchip,sleep-debug-en = <1>;
	rockchip,sleep-mode-config = <
		(0
		| RKPM_SLP_ARMPD
		| RKPM_SLP_PERILPPD
		| RKPM_SLP_DDR_RET
		| RKPM_SLP_PLLPD
		| RKPM_SLP_CENTER_PD
		| RKPM_SLP_OSC_DIS
		| RKPM_SLP_AP_PWROFF
		)
	>;
	rockchip,wakeup-config = <
		(0
		| RKPM_GPIO_WKUP_EN
		)
	>;
	rockchip,pwm-regulator-config = <
		(0
		| PWM2_REGULATOR_EN
		)
	>;
	rockchip,power-ctrl =
		<&gpio1 RK_PC1 GPIO_ACTIVE_HIGH>,
		<&gpio1 RK_PB6 GPIO_ACTIVE_HIGH>;
};

&route_dsi {
	status = "okay";
	logo,mode = "center";
};

&sdhci {
	bus-width = <8>;
	mmc-hs400-1_8v;
	supports-emmc;
	non-removable;
	keep-power-in-suspend;
	mmc-hs400-enhanced-strobe;
	status = "okay";
};

&sdmmc {
	clock-frequency = <50000000>;
	clock-freq-min-max = <400000 150000000>;
	supports-sd;
	bus-width = <4>;
	cap-mmc-highspeed;
	cap-sd-highspeed;
	disable-wp;
	card-detect-delay = <1200>;
//	non-removable;
	num-slots = <1>;
	sd-uhs-sdr104;
	vqmmc-supply = <&vccio_sd>;
	pinctrl-names = "default";
	pinctrl-0 = <&sdmmc_clk &sdmmc_cmd &sdmmc_cd &sdmmc_bus4>;
	status = "okay";
};



&tsadc {
	rockchip,hw-tshut-mode = <1>; /* tshut mode 0:CRU 1:GPIO */
	rockchip,hw-tshut-polarity = <1>; /* tshut polarity 0:LOW 1:HIGH */
	status = "okay";
};





&uart0 {
	pinctrl-names = "default";
	pinctrl-0 = <&uart0_xfer &uart0_cts>;
	status = "okay";
};

&usb_host0_ehci {
	status = "okay";
};

&usb_host0_ohci {
	status = "okay";
};

&usbdrd3_0 {
	extcon = <&fusb0>;
	status = "okay";
};

&usbdrd_dwc3_0 {
	dr_mode = "otg";
	status = "okay";
};



&usbdrd3_1 {
	status = "okay";
};

&usbdrd_dwc3_1 {
	status = "okay";
	dr_mode = "host";
};


&usb_host1_ehci {
	status = "okay";
};

&usb_host1_ohci {
	status = "okay";
};

&u2phy0 {
	status = "okay";
	extcon = <&fusb0>;

	u2phy0_otg: otg-port {
		status = "okay";
	};

	u2phy0_host: host-port {
	//	phy-supply = <&vcc5v0_host>;
		status = "okay";
	};
};

&u2phy1 {
	status = "okay";

	u2phy1_otg: otg-port {
		status = "okay";
	};

	u2phy1_host: host-port {
	//	phy-supply = <&vcc5v0_host>;
		status = "okay";
	};
};

&tcphy0 {
	extcon = <&fusb0>;
	status = "okay";
};

&tcphy1 {
	status = "okay";
};


&cdn_dp {
	status = "okay";
	extcon = <&fusb0>;
	phys = <&tcphy0_dp>;
};



 
&sdio0 {
	clock-frequency = <50000000>;
	clock-freq-min-max = <200000 150000000>;
	supports-sdio;
	bus-width = <4>;
	disable-wp;
	cap-sd-highspeed;
	cap-sdio-irq;
	keep-power-in-suspend;
	mmc-pwrseq = <&sdio_pwrseq>;
	non-removable;
	num-slots = <1>;
	pinctrl-names = "default";
	pinctrl-0 = <&sdio0_bus4 &sdio0_cmd &sdio0_clk>;
	sd-uhs-sdr104;
	status = "okay";
};

&saradc {
	status = "okay";
	vref-supply = <&vccadc_ref>;
};





&spi1 {
	status = "okay";
	max-freq = <48000000>;
	dev-port = <0>;

	spidev0: spidev@00 {
		status = "okay";
		compatible = "linux,spidev";
		reg = <0x00>;
		spi-max-frequency = <48000000>;
	};
};

&uart2 {
	status = "disabled";
};

